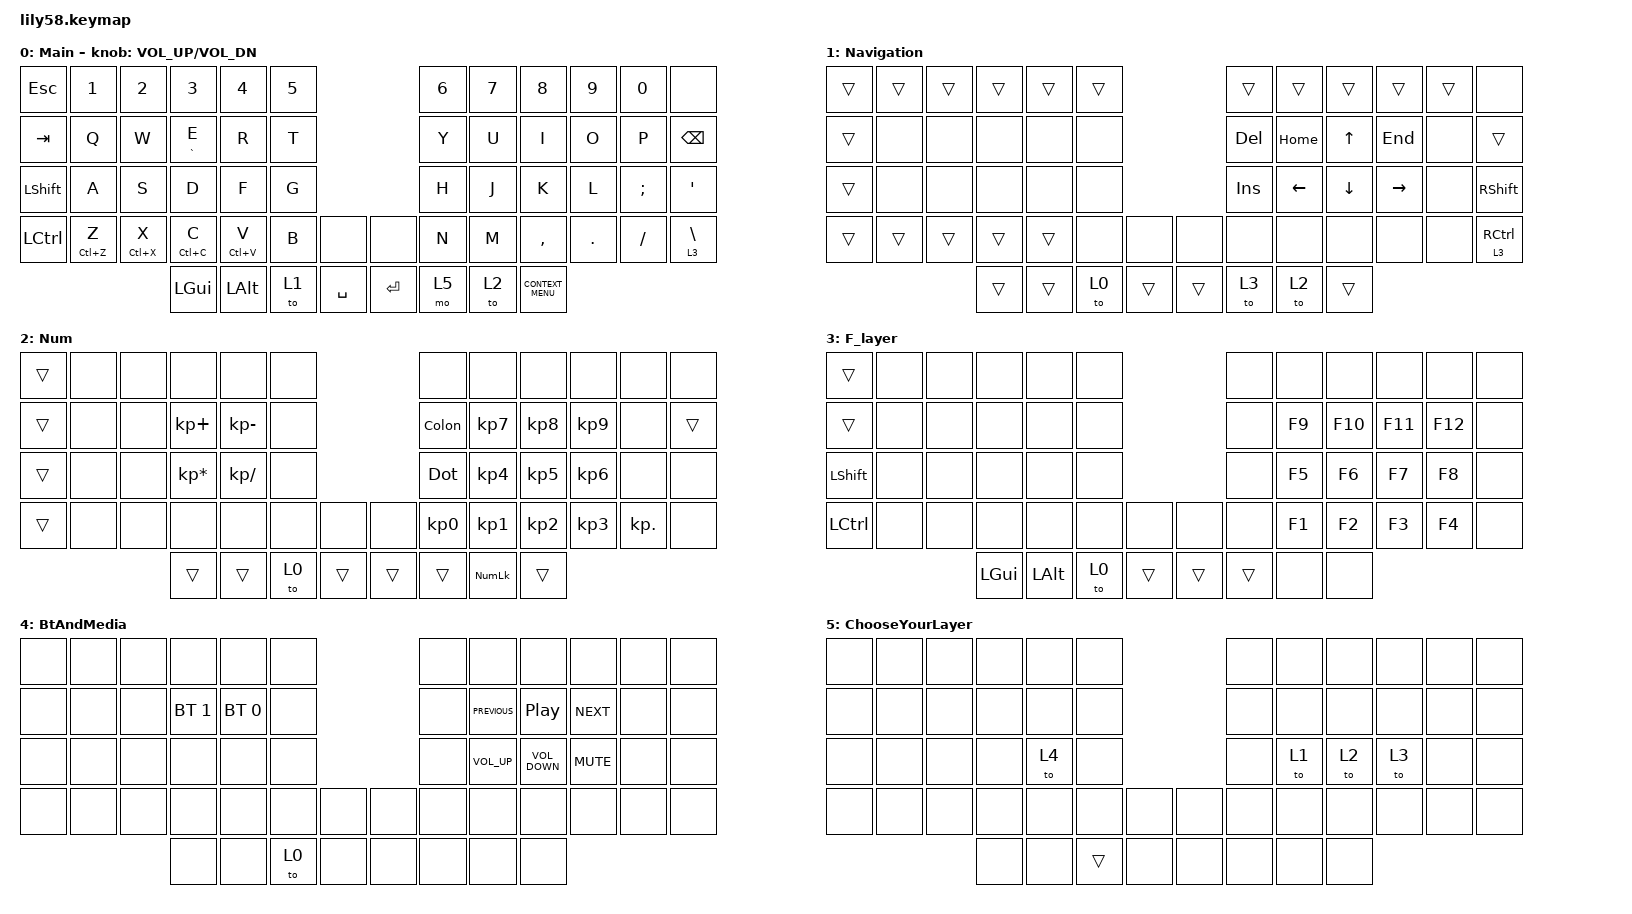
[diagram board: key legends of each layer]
/*
 * Copyright (c) 2020 The ZMK Contributors
 *
 * SPDX-License-Identifier: MIT
 */

#include <behaviors.dtsi>
#include <dt-bindings/zmk/bt.h>
#include <dt-bindings/zmk/keys.h>

/ {
    combos {
        compatible = "zmk,combos";

        LeftPar {
            bindings = <&kp LEFT_PARENTHESIS>;
            key-positions = <16 17>;
        };

        RightPar {
            bindings = <&kp RIGHT_PARENTHESIS>;
            key-positions = <18 19>;
        };

        Test {
            bindings = <&Ampersand>;
            key-positions = <42 43>;
        };

        Left_Bracket {
            bindings = <&kh_hs_tapdance>;
            key-positions = <28 29>;
        };

        Right_Bracket {
            bindings = <&kp RIGHT_BRACKET>;
            key-positions = <30 31>;
        };

        Left_Brace {
            bindings = <&kp LEFT_BRACE>;
            key-positions = <40 41>;
        };

        Right_Brace {
            bindings = <&kp RIGHT_BRACE>;
            key-positions = <44 45>;
        };

        Caps {
            bindings = <&kp CAPSLOCK>;
            key-positions = <24 35>;
        };

        ToMain {
            bindings = <&to 0>;
            key-positions = <0 11>;
        };

        Underscore {
            bindings = <&Underscore>;
            key-positions = <45 46>;
        };

        Minus {
            bindings = <&kp KP_MINUS>;
            key-positions = <19 20>;
        };

        Plus {
            bindings = <&kp KP_PLUS>;
            key-positions = <15 16>;
        };

        Multiply {
            bindings = <&kp KP_MULTIPLY>;
            key-positions = <28 27>;
        };

        Divide {
            bindings = <&kp KP_SLASH>;
            key-positions = <31 32>;
        };

        Ecual {
            bindings = <&kp EQUAL>;
            key-positions = <29 30>;
        };

        MacroPass {
            bindings = <&SbDevMacroPass>;
            key-positions = <10 11>;
        };

        Ampersand {
            bindings = <&Ampersand>;
            key-positions = <20 21>;
        };

        Hash {
            bindings = <&Hash>;
            key-positions = <15 14>;
        };
    };

    behaviors {
        ss_hs_modmorph: ss_hs_modmorph {
            compatible = "zmk,behavior-mod-morph";
            label = "SS_HS_MODMORPH";
            bindings = <&kp M>, <&kp RIGHT_BRACKET>;

            #binding-cells = <0>;
            mods = <(MOD_LSFT|MOD_RSFT)>;
        };

        kh_hs_tapdance: kh_hs_tapdance {
            compatible = "zmk,behavior-tap-dance";
            label = "KH_HS_TAPDANCE";
            #binding-cells = <0>;
            tapping-term-ms = <200>;
            bindings = <&kp LEFT_BRACKET>, <&kp RIGHT_BRACKET>;
        };

        hrm: hrm {
            compatible = "zmk,behavior-hold-tap";
            #binding-cells = <2>;
            flavor = "tap-preferred";
            tapping-term-ms = <200>;
            quick-tap-ms = <200>;
            require-prior-idle-ms = <125>;
            bindings = <&kp>, <&kp>;
        };

        toggle_off: toggle_off {
            compatible = "zmk,behavior-key-toggle";
            label = "TOGGLE_OFF";
            #binding-cells = <1>;
            toggle-mode = "off";
        };
    };

    macros {
        SbDevMacroPass: SbDevMacroPass {
            compatible = "zmk,behavior-macro";
            #binding-cells = <0>;
            bindings = <&kp LS(S) &kp B &kp LS(D) &kp E &kp V &kp LS(P) &kp O &kp O &kp M &kp S &kp I &kp M &kp E &kp T &kp I &kp N1 &kp EXCL>;
            label = "SBDEVMACROPASS";
        };

        Ampersand: Shift_test {
            compatible = "zmk,behavior-macro";
            #binding-cells = <0>;
            bindings = <&kt LEFT_ALT &kp KP_NUMBER_3 &kp KP_NUMBER_8 &toggle_off LEFT_ALT>;
            label = "SHIFT_TEST";
        };

        Hash: Hash {
            compatible = "zmk,behavior-macro";
            #binding-cells = <0>;
            bindings = <&kt LEFT_ALT &kp KP_NUMBER_3 &kp KP_NUMBER_5 &toggle_off LEFT_ALT>;
            label = "HASH";
        };

        Underscore: Underscore {
            compatible = "zmk,behavior-macro";
            #binding-cells = <0>;
            bindings = <&kt LEFT_ALT &kp KP_NUMBER_9 &kp KP_NUMBER_5 &toggle_off LEFT_ALT>;
            label = "UNDERSCORE";
        };

        Dot: Dot {
            compatible = "zmk,behavior-macro";
            #binding-cells = <0>;
            bindings = <&kt LEFT_ALT &kp KP_NUMBER_4 &kp KP_NUMBER_6 &toggle_off LEFT_ALT>;
            label = "DOT";
        };

        Colon: Colon {
            compatible = "zmk,behavior-macro";
            #binding-cells = <0>;
            bindings = <&kt LEFT_ALT &kp KP_NUMBER_5 &kp KP_NUMBER_8 &toggle_off LEFT_ALT>;
            label = "COLON";
        };
    };

    keymap {
        compatible = "zmk,keymap";

        Main {
            // ------------------------------------------------------------------------------------------------------------
            // |  ESC  |  1  |  2  |  3   |  4   |  5   |                   |  6   |  7    |  8    |  9   |   0   |   `   |
            // |  TAB  |  Q  |  W  |  E   |  R   |  T   |                   |  Y   |  U    |  I    |  O   |   P   |   -   |
            // |  CTRL |  A  |  S  |  D   |  F   |  G   |                   |  H   |  J    |  K    |  L   |   ;   |   '   |
            // | SHIFT |  Z  |  X  |  C   |  V   |  B   |   "["  |  |  "]"  |  N   |  M    |  ,    |  .   |   /   | SHIFT |
            //                     | ALT  | GUI  | LOWER|  SPACE |  | ENTER | RAISE| BSPC  | GUI   |

            bindings = <
&kp ESC         &kp NUMBER_1  &kp N2        &kp N3        &kp N4        &kp N5                        &kp N6  &kp N7  &kp N8              &kp N9   &kp N0    &none
&kp TAB         &kp Q         &kp W         &hrm GRAVE E  &kp R         &kp T                         &kp Y   &kp U   &kp I               &kp O    &kp P     &kp BACKSPACE
&kp LEFT_SHIFT  &kp A         &kp S         &kp D         &kp F         &kp G                         &kp H   &kp J   &kp K               &kp L    &kp SEMI  &kp SQT
&kp LCTRL       &hrm LC(Z) Z  &hrm LC(X) X  &hrm LC(C) C  &hrm LC(V) V  &kp B   &none        &none    &kp N   &kp M   &kp COMMA           &kp DOT  &kp FSLH  &lt 3 BACKSLASH
                                            &kp LEFT_GUI  &kp LEFT_ALT  &to 1   &kp SPACE    &kp RET  &mo 5   &to 2   &kp K_CONTEXT_MENU
            >;

            sensor-bindings = <&inc_dec_kp C_VOL_UP C_VOL_DN>;
        };

        Navigation {
            bindings = <
&trans  &trans  &trans  &trans  &trans  &trans                    &trans      &trans          &trans          &trans     &trans  &none
&trans  &none   &none   &none   &none   &none                     &kp DELETE  &kp HOME        &kp UP_ARROW    &kp END    &none   &trans
&trans  &none   &none   &none   &none   &none                     &kp INSERT  &kp LEFT_ARROW  &kp DOWN_ARROW  &kp RIGHT  &none   &kp RSHFT
&trans  &trans  &trans  &trans  &trans  &none   &none     &none   &none       &none           &none           &none      &none   &lt 3 RIGHT_CONTROL
                        &trans  &trans  &to 0   &trans    &trans  &to 3       &to 2           &trans
            >;
        };

        Num {
            bindings = <
&trans  &none  &none  &none            &none            &none                    &none      &none            &none            &none            &none       &none
&trans  &none  &none  &kp KP_PLUS      &kp KP_SUBTRACT  &none                    &Colon     &kp KP_NUMBER_7  &kp KP_NUMBER_8  &kp KP_NUMBER_9  &none       &trans
&trans  &none  &none  &kp KP_MULTIPLY  &kp KP_DIVIDE    &none                    &Dot       &kp KP_NUMBER_4  &kp KP_NUMBER_5  &kp KP_NUMBER_6  &none       &none
&trans  &none  &none  &none            &none            &none  &none     &none   &kp KP_N0  &kp KP_NUMBER_1  &kp KP_NUMBER_2  &kp KP_NUMBER_3  &kp KP_DOT  &none
                      &trans           &trans           &to 0  &trans    &trans  &trans     &kp KP_NUMLOCK   &trans
            >;
        };

        F_layer {
            bindings = <
&trans     &none  &none  &none         &none         &none                    &none   &none   &none    &none    &none    &none
&trans     &none  &none  &none         &none         &none                    &none   &kp F9  &kp F10  &kp F11  &kp F12  &none
&kp LSHFT  &none  &none  &none         &none         &none                    &none   &kp F5  &kp F6   &kp F7   &kp F8   &none
&kp LCTRL  &none  &none  &none         &none         &none  &none     &none   &none   &kp F1  &kp F2   &kp F3   &kp F4   &none
                         &kp LEFT_GUI  &kp LEFT_ALT  &to 0  &trans    &trans  &trans  &none   &none
            >;
        };

        BtAndMedia {
            bindings = <
&none  &none  &none  &none         &none         &none                  &none  &none            &none              &none       &none  &none
&none  &none  &none  &bt BT_SEL 1  &bt BT_SEL 0  &none                  &none  &kp C_PREVIOUS   &kp C_PP           &kp C_NEXT  &none  &none
&none  &none  &none  &none         &none         &none                  &none  &kp C_VOLUME_UP  &kp C_VOLUME_DOWN  &kp C_MUTE  &none  &none
&none  &none  &none  &none         &none         &none  &none    &none  &none  &none            &none              &none       &none  &none
                     &none         &none         &to 0  &none    &none  &none  &none            &none
            >;
        };

        ChooseYourLayer {
            bindings = <
&none  &none  &none  &none  &none  &none                   &none  &none  &none  &none  &none  &none
&none  &none  &none  &none  &none  &none                   &none  &none  &none  &none  &none  &none
&none  &none  &none  &none  &to 4  &none                   &none  &to 1  &to 2  &to 3  &none  &none
&none  &none  &none  &none  &none  &none   &none    &none  &none  &none  &none  &none  &none  &none
                     &none  &none  &trans  &none    &none  &none  &none  &none
            >;
        };
    };
};
